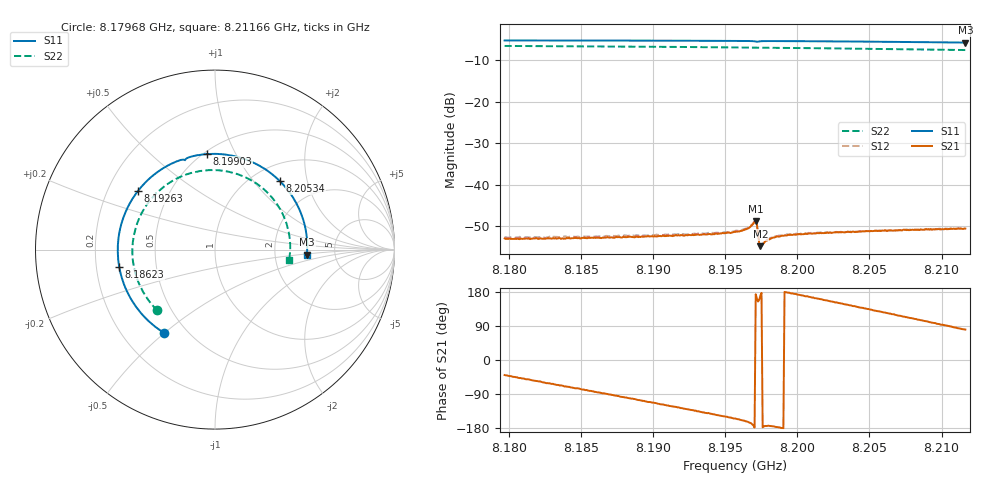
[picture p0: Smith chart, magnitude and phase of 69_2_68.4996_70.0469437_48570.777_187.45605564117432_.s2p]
#  HZ  S  RI  R  50.00
! Rohde & Schwarz Vector Network Analyzer
! Rohde-Schwarz,ZNB20-2Port,1311601062101988,3.16
! Created: UTC 3/20/2024, 5:06:49 PM
! freq[Hz]  re:S11  im:S11  re:S21  im:S21  re:S12  im:S12  re:S22  im:S22
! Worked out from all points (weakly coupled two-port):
!   401 points, 8.17968 GHz to 8.21166 GHz, reference 50 ohm
!   highest |S21| = -48.72 dB at 8.19711 GHz (marker M1); lowest = -54.7 dB at 8.19743 GHz (marker M2)
!   lowest |S11| = -5.8 dB at 8.21166 GHz (marker M3), VSWR 3.11, Z = 154 - j11.7 ohm
!   |S11| at or under -10 dB: nowhere
!   |S22| runs from -7.6 to -6.6 dB; largest |S21 - S12| = 0.00019
!   S11 on the Smith chart (normalised r, x): 8.17968 GHz: 0.38, -0.49; 8.18623 GHz: 0.30, -0.08; 8.19263 GHz: 0.33, +0.30; 8.19903 GHz: 0.52, +0.77; 8.20534 GHz: 1.31, +1.38; 8.21166 GHz: 3.09, -0.23
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8.179678e9  -0.2868 -0.4621  0.00175 -0.00145  0.00176 -0.00153  -0.3212 -0.3392
8.182556e9  -0.4329 -0.3282  0.0011 -0.00199  0.00116 -0.00201  -0.4147 -0.2091
8.185035e9  -0.5131 -0.1763  0.000489 -0.00226  0.000476 -0.00231  -0.4553 -0.0774
8.186234e9  -0.5338 -0.0954  0.000181 -0.00231  0.000151 -0.00241  -0.4603 -0.0108
8.188312e9  -0.5391 0.0493  -0.000443 -0.00233  -0.000494 -0.00241  -0.4466 0.1034
8.190391e9  -0.506 0.1905  -0.00105 -0.00218  -0.00114 -0.00224  -0.4045 0.2108
8.19263e9  -0.4292 0.3268  -0.00165 -0.00185  -0.00176 -0.00185  -0.3303 0.3105
8.195667e9  -0.2678 0.4656  -0.00245 -0.00117  -0.00258 -0.00107  -0.191 0.4062
8.196467e9  -0.2162 0.4905  -0.00281 -0.000901  -0.00287 -0.000815  -0.149 0.4221
8.196947e9  -0.1813 0.501  -0.0034 -0.000423  -0.00351 -0.000263  -0.123 0.4294
8.197106e9  -0.1694 0.5  -0.00364 0.000411  -0.00366 0.000599  -0.1143 0.4316
8.197426e9  -0.1592 0.5075  -0.0018 0.000332  -0.00181 0.000402  -0.0968 0.4353
8.197506e9  -0.1536 0.5106  -0.00183 9.42e-05  -0.00186 0.000158  -0.0925 0.4362
8.197586e9  -0.1478 0.5131  -0.00191 -8.26e-05  -0.00194 1.09e-05  -0.0879 0.4369
8.198066e9  -0.1133 0.5228  -0.0022 -0.000232  -0.00228 -0.00014  -0.0609 0.4406
8.199025e9  -0.0453 0.5323  -0.00244 -2.09e-06  -0.0025 0.000138  -0.00653 0.4431
8.201024e9  0.0955 0.5232  -0.00249 0.000694  -0.00251 0.000795  0.1058 0.4263
8.203102e9  0.2337 0.4746  -0.00232 0.0014  -0.00224 0.00148  0.2147 0.3786
8.205341e9  0.3615 0.3815  -0.00182 0.00213  -0.00179 0.00218  0.3137 0.2946
8.20638e9  0.4101 0.326  -0.00152 0.00239  -0.00146 0.00242  0.3505 0.2458
8.209018e9  0.4938 0.159  -0.000592 0.00285  -0.000499 0.00289  0.4101 0.1014
8.211657e9  0.5124 -0.0279  0.000498 0.00294  0.000585 0.00294  0.4132 -0.058
